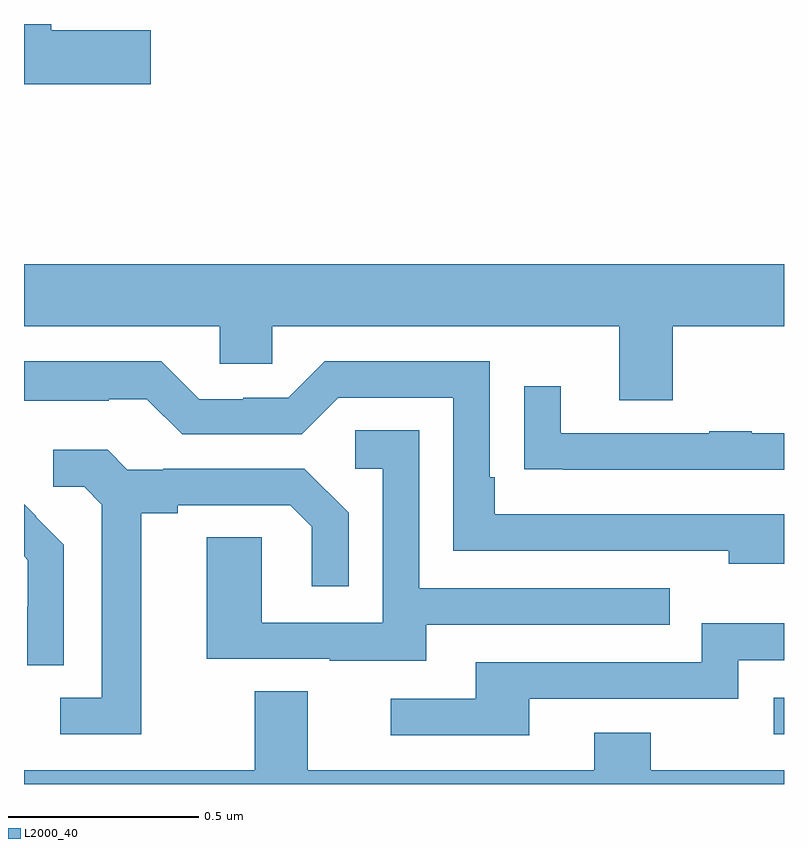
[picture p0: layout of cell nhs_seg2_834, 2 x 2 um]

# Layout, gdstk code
import gdstk
lib = gdstk.Library(unit=1e-6, precision=1e-09)
def R(c, l, rs):  # rectangles x0, y0, x1, y1
    for r in rs: c.add(gdstk.rectangle(r[:2], r[2:], *l))
def P(c, l, *ps):  # polygons
    for p in ps: c.add(gdstk.Polygon(p, *l))
L2000_40 = (2000, 40)

nhs_seg2_834 = lib.new_cell('nhs_seg2_834')
R(nhs_seg2_834, L2000_40, [(122.973,611.931,123,612.027)])
P(nhs_seg2_834, L2000_40, [(121.333,613.784),(121.072,613.784),(121.072,613.8),(121,613.8),(121,613.642),(121.333,613.642)],
  [(122.707,613.004),(123,613.004),(123,613.168),(121,613.168),(121,613.004),(121.515,613.004),(121.515,612.906),(121.653,612.906),(121.653,613.004),(122.567,613.004),(122.567,612.81),(122.707,612.81)],
  [(123,612.51),(122.239,612.51),(122.239,612.607),(122.226,612.607),(122.226,612.912),(121.791,612.912),(121.695,612.816),(121.577,612.816),(121.577,612.813),(121.461,612.813),(121.361,612.913),(121,612.913),(121,612.809),(121.223,612.809),(121.223,612.813),(121.323,612.813),(121.416,612.72),(121.731,612.72),(121.827,612.816),(122.13,612.816),(122.13,612.414),(122.855,612.414),(122.855,612.38),(123,612.38)],
  [(123,612.723),(122.915,612.723),(122.915,612.728),(122.803,612.728),(122.803,612.723),(122.413,612.723),(122.413,612.847),(122.317,612.847),(122.317,612.628),(122.419,612.628),(122.419,612.627),(123,612.627)],
  [(122.059,612.219),(122.699,612.219),(122.699,612.315),(122.04,612.315),(122.04,612.731),(121.872,612.731),(121.872,612.63),(121.944,612.63),(121.944,612.225),(121.626,612.225),(121.626,612.449),(121.481,612.449),(121.481,612.129),(121.805,612.129),(121.805,612.125),(122.059,612.125)],
  [(121.309,612.512),(121.405,612.512),(121.405,612.534),(121.7,612.534),(121.757,612.477),(121.757,612.321),(121.854,612.321),(121.854,612.514),(121.738,612.63),(121.366,612.63),(121.366,612.627),(121.272,612.627),(121.22,612.679),(121.077,612.679),(121.077,612.582),(121.158,612.582),(121.205,612.535),(121.205,612.027),(121.095,612.027),(121.095,611.931),(121.309,611.931)],
  [(121.104,612.43),(121.031,612.503),(121.032,612.504),(121,612.536),(121,612.399),(121.01,612.389),(121.01,612.266),(121.008,612.266),(121.008,612.112),(121.104,612.112)],
  [(122.329,612.024),(122.88,612.024),(122.88,612.126),(123,612.126),(123,612.223),(122.784,612.223),(122.784,612.12),(122.189,612.12),(122.189,612.024),(121.965,612.024),(121.965,611.928),(122.329,611.928)],
  [(123,611.836),(122.649,611.836),(122.649,611.935),(122.501,611.935),(122.501,611.836),(121.747,611.836),(121.747,612.044),(121.607,612.044),(121.607,611.836),(121,611.836),(121,611.8),(123,611.8)])

lib.write_gds('nhs_seg2_834.gds')
